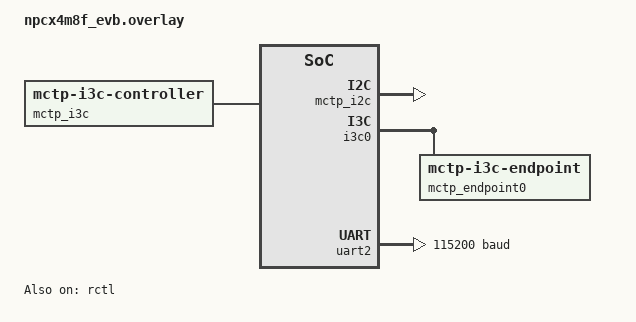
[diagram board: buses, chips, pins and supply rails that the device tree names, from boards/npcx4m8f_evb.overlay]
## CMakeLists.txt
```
cmake_minimum_required(VERSION 3.20.0)

find_package(Zephyr REQUIRED HINTS $ENV{ZEPHYR_BASE})
project(controller)

target_include_directories(app PRIVATE
    ../../pldm/common/include
    ../../mctp/common/include
)

target_sources(app PRIVATE
    src/main.c
    ../../pldm/common/pldm.c
    ../../mctp/common/mctp.c
)
```

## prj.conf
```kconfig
CONFIG_I2C=y
CONFIG_I2C_RTIO=y
CONFIG_MCTP=y
CONFIG_MCTP_UART=y
CONFIG_SERIAL=y
CONFIG_UART_ASYNC_API=y
CONFIG_MCTP_I2C_GPIO_CONTROLLER=y
CONFIG_LOG=y
CONFIG_LOG_BUFFER_SIZE=8192
CONFIG_REQUIRES_FLOAT_PRINTF=y
CONFIG_MAIN_STACK_SIZE=2048
CONFIG_OUTPUT_DISASSEMBLY=y

CONFIG_I3C=y
CONFIG_MCTP_I3C_CONTROLLER=y

CONFIG_PLDM=y
```

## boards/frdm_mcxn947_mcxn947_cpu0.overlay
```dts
mctp_serial: &arduino_serial {};

&gpio5 {
	status = "okay";
};

&flexcomm2 {
	status = "okay";
};

&flexcomm2_lpi2c2 {
	status = "okay";
	clock-frequency = <I2C_BITRATE_STANDARD>;
};

/ {
	mctp_i2c: mctp_i2c {
		compatible = "zephyr,mctp-i2c-gpio-controller";
		i2c = <&flexcomm2_lpi2c2>;
		endpoint-ids = <15>;
		endpoint-addrs = <70>;
		endpoint-gpios = <&gpio5 3 GPIO_ACTIVE_HIGH>;
	};
};
```

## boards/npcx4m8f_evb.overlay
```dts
#include <zephyr/dt-bindings/gpio/gpio.h>

/* GND J8.4 */

&rctl {
	status = "okay";
};

/* I3C SDA J18.20 */
/* I3C SCL J18.19 */
&i3c0 {
	status = "okay";
	i3c-scl-hz = <7500000>;
	i3c-od-scl-hz = <1500000>;

	bcr = <0x67>;

	mctp_endpoint0: mctp_endpoint0@20a00000011 {
		compatible = "zephyr,mctp-i3c-endpoint";
		reg = <0x0000 0x020a 0x00000011>;
		status = "okay";
	};
};

&pcc {
	clock-frequency = <DT_FREQ_M(90)>; /* OFMCLK runs at 90MHz */
	core-prescaler = <3>; /* CORE_CLK runs at 30MHz */
	apb1-prescaler = <6>; /* APB1_CLK runs at 15MHz */
	apb2-prescaler = <6>; /* APB2_CLK runs at 15MHz */
	apb3-prescaler = <6>; /* APB3_CLK runs at 15MHz */
	apb4-prescaler = <3>; /* APB4_CLK runs at 30MHz */
};

&gpio4 {
    status = "okay";
};

&uart2 {
	status = "okay";
	current-speed = <115200>;
	/* RX J18.9 */
	/* TX J18.10 */
	pinctrl-0 = <&uart2_sin_gp75 &uart2_sout_gp86>;
	pinctrl-names = "default";
};

/ {
	/* SDA J18.2 */
	/* SCL J18.1 */
	/* GPIO J17.2 */
	mctp_i2c: mctp_i2c {
		compatible = "zephyr,mctp-i2c-gpio-controller";
		i2c = <&i2c0_0>;
		endpoint-ids = <12 13>;
		endpoint-addrs = <70 71>;
		endpoint-gpios = <&gpio4 3 GPIO_ACTIVE_HIGH
                          &gpio4 1 GPIO_ACTIVE_HIGH>;
	};
	mctp_i3c: mctp_i3c {
		compatible = "zephyr,mctp-i3c-controller";
		endpoints = <&mctp_endpoint0>;
		endpoint-ids = <11>;
	};
};
```

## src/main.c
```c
/*
 * Copyright (c) 2025 Intel Corporation
 *
 * SPDX-License-Identifier: Apache-2.0
 */

#include <math.h>
#include <stdlib.h>
#include <stdio.h>
#include <assert.h>
#include <zephyr/types.h>
#include <zephyr/kernel.h>
#include <libmctp.h>
#include <zephyr/pmci/mctp/mctp_i2c_gpio_controller.h>
#include <zephyr/pmci/mctp/mctp_i3c_controller.h>

#include <pldm.h>
#include <mctp.h>

#include <zephyr/logging/log.h>
LOG_MODULE_REGISTER(controller_mctp_endpoint);

#define LOCAL_EID 20
#define SENSOR_EID DT_PROP_BY_IDX(DT_NODELABEL(mctp_i3c), endpoint_ids, 0)
#define SENSOR_ALTERNATE_EID DT_PROP_BY_IDX(DT_NODELABEL(mctp_i2c), endpoint_ids, 1)
#define DISPLAY_EID DT_PROP_BY_IDX(DT_NODELABEL(mctp_i2c), endpoint_ids, 0)

#define MCTP_MESSAGE_TYPE_MASK 0x7F
#define PLDM_MCTP_MESSAGE_TYPE 1

MCTP_I2C_GPIO_CONTROLLER_DT_DEFINE(mctp_i2c_ctrl, DT_NODELABEL(mctp_i2c));
MCTP_I3C_CONTROLLER_DT_DEFINE(mctp_i3c_ctrl, DT_NODELABEL(mctp_i3c));

struct mctp *mctp_ctx_i2c_gpio;
struct mctp *mctp_ctx_i3c;


struct temperature_data {
	double temperature;
	bool updated;
} __packed;

struct temperature_data last_temperature;

struct message {
	uintptr_t fifo;
	size_t len;
	uint8_t src_eid;
	uint8_t data[];
};

K_FIFO_DEFINE(rx_fifo);

static void pldm_rx_work(struct k_work *item)
{
	while (true) {
		struct message *rx_msg = k_fifo_get(&rx_fifo, K_NO_WAIT);
		if (!rx_msg) {
			break;
		}

		LOG_DBG("Processing PLDM message from mctp endpoint %d, len %zu", rx_msg->src_eid, rx_msg->len);
		LOG_HEXDUMP_DBG(rx_msg->data, rx_msg->len, "PLDM message");

		pldm_response_handler((struct pldm_msg *)rx_msg->data, rx_msg->len);

		free(rx_msg);
	}
}
K_WORK_DEFINE(rx_work, pldm_rx_work);

static void rx_message(uint8_t src_eid, bool tag_owner, uint8_t msg_tag, void *data, void *msg,
		       size_t len)
{
	/* Treat data as a buffer for byte wise access */
	uint8_t *msg_buf = (uint8_t *)msg;

	LOG_DBG("Received MCTP message from EID %d, len %zu", src_eid, len);

	if (len < 1) {
		LOG_WRN("MCTP Message should contain a message type and integrity check byte!");
		return;
	}

	switch (msg_buf[0] & MCTP_MESSAGE_TYPE_MASK) {
	case PLDM_MCTP_MESSAGE_TYPE: {
			size_t pldm_msg_len = len - 1;
			struct message *rx_msg = malloc(sizeof(struct message) + pldm_msg_len);

			if (!rx_msg) {
				LOG_ERR("Failed to allocate memory for incoming PLDM message");
				return;
			}

			rx_msg->len = pldm_msg_len;
			rx_msg->src_eid = src_eid;
			memcpy(rx_msg->data, &msg_buf[1], pldm_msg_len);
			k_fifo_put(&rx_fifo, rx_msg);
			k_work_submit(&rx_work);
		}
		break;

	case MCTP_CTRL_HDR_MSG_TYPE:
		mctp_response_handler(msg_buf, len);
		break;

	default:
		LOG_WRN("Received message with unsupported MCTP message type %d, ignoring",
			msg_buf[0] & MCTP_MESSAGE_TYPE_MASK);
	}
}

bool find_sensor(struct mctp *mctp_ctx, uint8_t eid, struct mctp_endpoint_info *endpoint_info,
		 struct pldm_compact_numeric_sensor_pdr *found_pdr)
{
	struct pldm_tid_info tid_info;
	int i, rc;

	/* Ensure sensor endpoint supports PLDM */
	rc = -ENOTSUP;
	for (i = 0; i <= endpoint_info->msg_types_len; i++) {
		if (endpoint_info->msg_types[i].type == MCTP_MSG_TYPE_NUMBER_PLDM_MCTP) {
			rc = 0;
			break;
		}
	}
	if (rc != 0) {
		LOG_ERR("Sensor endpoint does not support PLDM message type, cannot retrieve sensor data");
		return false;
	}

	rc= pldm_discovery(mctp_ctx, eid, &tid_info);
	if (rc != 0) {
		LOG_ERR("PLDM discovery failed for EID %d, error code: %d", eid, rc);
		return false;
	}

	LOG_INF("Supported PLDM types:");
	for (int i = 0; i <= 8; i++) {
		if (is_bit_set(tid_info.types, i)) {
			LOG_INF("\tType %d", i);
			LOG_INF("\t\tVersion: %d.%d", tid_info.type_infos[i].version.major, tid_info.type_infos[i].version.minor);
			LOG_INF("\t\tSupported commands:");
			for (int cmd = 0; cmd < 256; cmd++) {
				if (is_bit_set(tid_info.type_infos[i].commands, cmd)) {
					LOG_INF("\t\t\tCommand %d", cmd);
				}
			}
		}
	}
	if (is_bit_set(tid_info.types, PLDM_OEM)) {
		LOG_INF("\tType OEM");
		LOG_INF("\t\tVersion: %d.%d", tid_info.type_infos[PLDM_TYPE_INFO_IDX(PLDM_OEM)].version.major, tid_info.type_infos[PLDM_TYPE_INFO_IDX(PLDM_OEM)].version.minor);
		LOG_INF("\t\tSupported commands:");
		for (int cmd = 0; cmd < 256; cmd++) {
			if (is_bit_set(tid_info.type_infos[PLDM_TYPE_INFO_IDX(PLDM_OEM)].commands, cmd)) {
				LOG_INF("\t\t\tCommand %d", cmd);
			}
		}
	}

	if (!is_bit_set(tid_info.types, PLDM_PLATFORM) ||
	    !is_bit_set(tid_info.type_infos[PLDM_TYPE_INFO_IDX(PLDM_PLATFORM)].commands, PLDM_GET_PDR)) {
		LOG_INF("Endpoint %d does not support PLDM platform type or Get PDR command", eid);
		return false;
	}

	uint8_t pdr_buf[128];
	size_t pdr_len = sizeof(pdr_buf);
	struct pldm_pdr_hdr *pdr_hdr = (struct pldm_pdr_hdr *)pdr_buf;
	rc = pldm_get_pdr(mctp_ctx, eid, 0, pdr_buf, &pdr_len);
	if (rc != 0) {
		LOG_ERR("Failed to retrieve PDR from EID %d, error code: %d", eid, rc);
		return false;
	}

	/* Ensure it's a compact numeric sensor and that it is a temperature one */
	if (pdr_hdr->type == PLDM_COMPACT_NUMERIC_SENSOR_PDR) {
		struct pldm_compact_numeric_sensor_pdr *sensor_pdr = (struct pldm_compact_numeric_sensor_pdr *)pdr_buf;
		if (sensor_pdr->base_unit == PLDM_SENSOR_UNIT_DEGRESS_C ||
		    sensor_pdr->base_unit == PLDM_SENSOR_UNIT_DEGRESS_F) {
			LOG_INF("PDR is a Compact Numeric Sensor:");
			LOG_INF("\tSensor ID: %d", sensor_pdr->sensor_id);

			*found_pdr = *sensor_pdr;
			return true;
		}
	}

	LOG_INF("No suitable temperature sensor PDR found for EID %d", eid);
	return false;
}

int main(void)
{
	LOG_INF("Controller EID:%d on %s\n", LOCAL_EID, CONFIG_BOARD_TARGET);

	struct pldm_compact_numeric_sensor_pdr sensor_pdr = { };
	struct mctp *sensor_ctx = NULL;
	struct mctp_endpoint_info *sensor_einfo = NULL, *display_einfo = NULL,
				  *alt_sensor_einfo = NULL;
	uint8_t sensor_eid = 0;
	int rc;

	mctp_ctx_i2c_gpio = mctp_init();
	__ASSERT_NO_MSG(mctp_ctx_i2c_gpio != NULL);
	mctp_register_bus(mctp_ctx_i2c_gpio, &mctp_i2c_ctrl.binding, LOCAL_EID);
	mctp_set_rx_all(mctp_ctx_i2c_gpio, rx_message, NULL);
	rc = mctp_static_discovery(mctp_ctx_i2c_gpio, DISPLAY_EID, &display_einfo);
	if (rc != 0) {
		LOG_ERR("MCTP static discovery failed for EID %d on I2C GPIO bus, error code: %d", DISPLAY_EID, rc);
		return 0;
	}
	mctp_endpoint_info_log(display_einfo);

	mctp_ctx_i3c = mctp_init();
	__ASSERT_NO_MSG(mctp_ctx_i3c != NULL);
	mctp_register_bus(mctp_ctx_i3c, &mctp_i3c_ctrl.binding, LOCAL_EID);
	mctp_set_rx_all(mctp_ctx_i3c, rx_message, NULL);
	rc = mctp_static_discovery(mctp_ctx_i3c, SENSOR_EID, &sensor_einfo);
	if (rc != 0) {
		LOG_ERR("MCTP static discovery failed for EID %d on I3C bus, error code: %d", SENSOR_EID, rc);
		return 0;
	}
	mctp_endpoint_info_log(sensor_einfo);


	if (!find_sensor(mctp_ctx_i3c, SENSOR_EID, sensor_einfo, &sensor_pdr)) {
		rc = mctp_static_discovery(mctp_ctx_i2c_gpio, SENSOR_ALTERNATE_EID, &alt_sensor_einfo);
		if (rc != 0) {
			LOG_ERR("MCTP static discovery failed for EID %d on I2C GPIO bus, error code: %d",
				SENSOR_ALTERNATE_EID, rc);
			return 0;
		}
		mctp_endpoint_info_log(sensor_einfo);
		if (!find_sensor(mctp_ctx_i2c_gpio, SENSOR_ALTERNATE_EID, alt_sensor_einfo, &sensor_pdr)) {
			LOG_WRN("No valid temperature sensor PDR found on either bus, cannot send data to display");
			return 0;
		} else {
			LOG_INF("Found valid temperature sensor PDR on I2C GPIO bus, using that one");
			sensor_ctx = mctp_ctx_i2c_gpio;
			sensor_eid = SENSOR_ALTERNATE_EID;
		}
	} else {
		LOG_INF("Found valid temperature sensor PDR on I3C bus, using that one");
		sensor_ctx = mctp_ctx_i3c;
		sensor_eid = SENSOR_EID;
	}

	mctp_endpoint_info_free(display_einfo);
	mctp_endpoint_info_free(sensor_einfo);
	mctp_endpoint_info_free(alt_sensor_einfo);

	while (true) {
		uint8_t present_state;
		int32_t reading; /* Assume sensor returns signed 32 */
		size_t reading_len = sizeof(reading);

		LOG_INF("Reading temperature from sensor %d", sensor_pdr.sensor_id);
		rc = pldm_get_sensor_reading(sensor_ctx, sensor_eid, sensor_pdr.sensor_id, &reading,
					     &reading_len, &present_state);

		if (rc == 0) {
			LOG_INF("Current temperature: %.2f%c, present state: %d",
				last_temperature.temperature,
				sensor_pdr.base_unit == PLDM_SENSOR_UNIT_DEGRESS_C ? 'C' : 'F',
				present_state);

			if (present_state == PLDM_SENSOR_NORMAL) {
				last_temperature.updated = true;
				last_temperature.temperature = reading *
					pow(10, sensor_pdr.unit_modifier);

				if (sensor_pdr.base_unit == PLDM_SENSOR_UNIT_DEGRESS_F) {
					last_temperature.temperature =
						(last_temperature.temperature - 32) * 5 / 9;
				}
			} else {
				LOG_WRN("Sensor reading is unavailable");
			}
		} else {
			LOG_WRN("Failed to get sensor reading, error code: %d", rc);
		}

		LOG_INF("Sending message to Display EID:");
		LOG_INF("\tTemperature: %.2f°C - Up-to-date: %d",
			last_temperature.temperature, last_temperature.updated);
		mctp_message_tx(mctp_ctx_i2c_gpio, DISPLAY_EID, false, 0, &last_temperature,
				sizeof(last_temperature));
		last_temperature.updated = false;

		k_sleep(K_SECONDS(2));
	}

	return 0;
}
```
